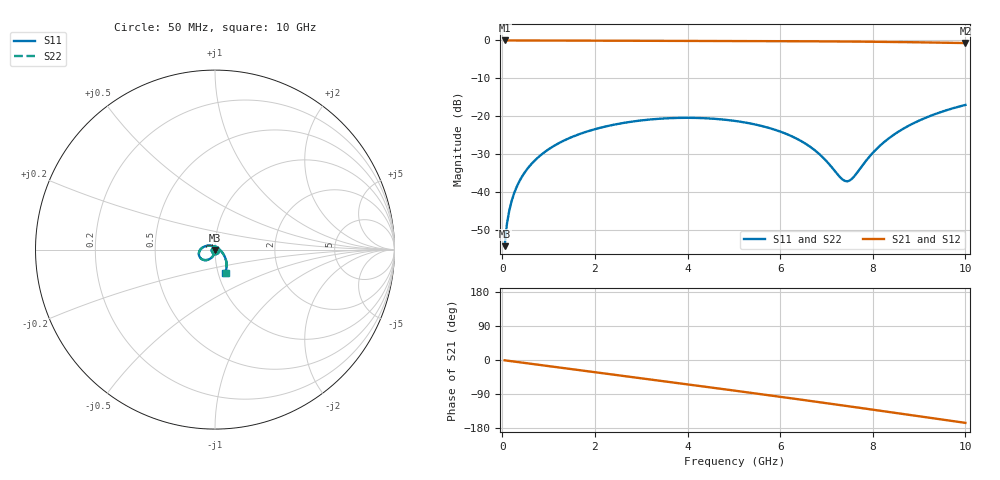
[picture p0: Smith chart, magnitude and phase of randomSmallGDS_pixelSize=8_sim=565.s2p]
! freq	dB(S11)	phase(S11)	dB(S12)	phase(S12)
!  dB(S21)	phase(S21)	dB(S22)	phase(S22)
!S-par simulation data
#  GHz  S  DB  R 50
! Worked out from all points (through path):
!   200 points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, 50 MHz to 10 GHz, reference 50 ohm
!   highest |S21| = 0.00 dB at 50 MHz (marker M1); lowest = -0.7 dB at 10 GHz (marker M2)
!   group delay of S21, straight-line fit = 45.9 ps
!   lowest |S11| = -54.4 dB at 50 MHz (marker M3), VSWR 1.00, Z = 50 - j0.191 ohm
!   |S11| at or under -10 dB: start of sweep to end of sweep
!   |S22| runs from -54.4 to -17.0 dB; largest |S21 - S12| = 0
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0.05  -54.37 -93.0  -0.00 -0.8  -0.00 -0.8  -54.37 -93.0
0.1  -48.49 -93.0  -0.00 -1.6  -0.00 -1.6  -48.49 -93.0
0.2  -42.51 -94.1  -0.01 -3.2  -0.01 -3.2  -42.51 -94.1
0.35  -37.68 -96.4  -0.01 -5.7  -0.01 -5.7  -37.68 -96.4
0.5  -34.61 -98.9  -0.01 -8.1  -0.01 -8.1  -34.61 -98.9
0.7  -31.74 -102.2  -0.02 -11.3  -0.02 -11.3  -31.74 -102.2
1  -28.76 -107.2  -0.02 -16.1  -0.02 -16.1  -28.76 -107.2
1.75  -24.39 -119.6  -0.05 -28.2  -0.05 -28.2  -24.39 -119.6
2.5  -22.05 -131.9  -0.07 -40.2  -0.07 -40.2  -22.05 -131.9
3.4  -20.69 -146.8  -0.10 -54.6  -0.10 -54.6  -20.69 -146.8
4.25  -20.50 -161.2  -0.13 -68.3  -0.13 -68.3  -20.50 -161.3
5.05  -21.32 -175.7  -0.15 -81.4  -0.15 -81.4  -21.32 -175.7
6  -24.08 164.7  -0.19 -97.1  -0.19 -97.1  -24.08 164.7
6.7  -28.57 143.9  -0.23 -108.8  -0.23 -108.8  -28.56 143.8
6.95  -31.25 131.1  -0.24 -113.1  -0.24 -113.1  -31.24 130.9
7.3  -36.22 92.4  -0.27 -119.0  -0.27 -119.0  -36.16 92.2
7.45  -37.23 60.8  -0.28 -121.6  -0.28 -121.6  -37.14 60.8
7.55  -36.57 38.9  -0.29 -123.3  -0.29 -123.3  -36.49 39.0
8  -29.71 -11.8  -0.34 -131.1  -0.34 -131.1  -29.69 -11.6
8.35  -25.84 -27.1  -0.39 -137.1  -0.39 -137.1  -25.82 -27.0
9.05  -20.91 -46.1  -0.50 -149.3  -0.50 -149.3  -20.91 -46.0
10  -17.04 -65.5  -0.69 -165.9  -0.69 -165.9  -17.04 -65.4
